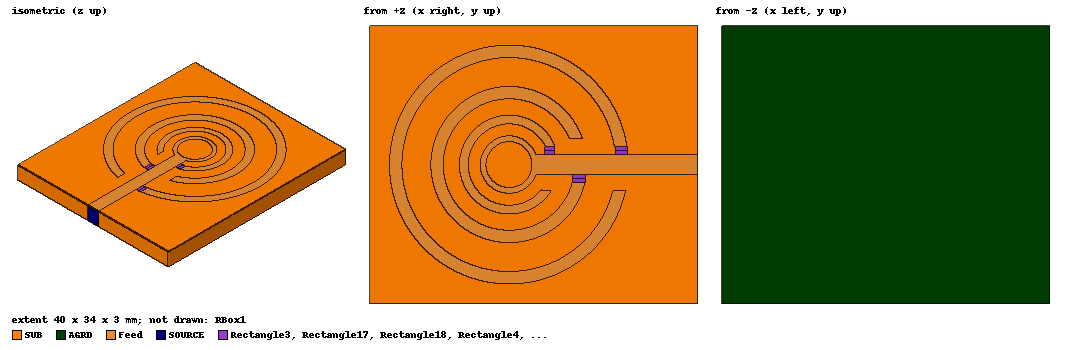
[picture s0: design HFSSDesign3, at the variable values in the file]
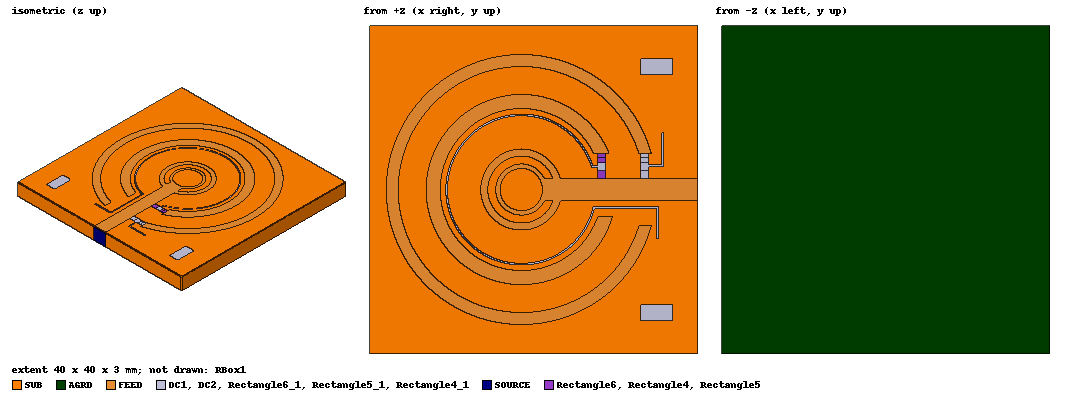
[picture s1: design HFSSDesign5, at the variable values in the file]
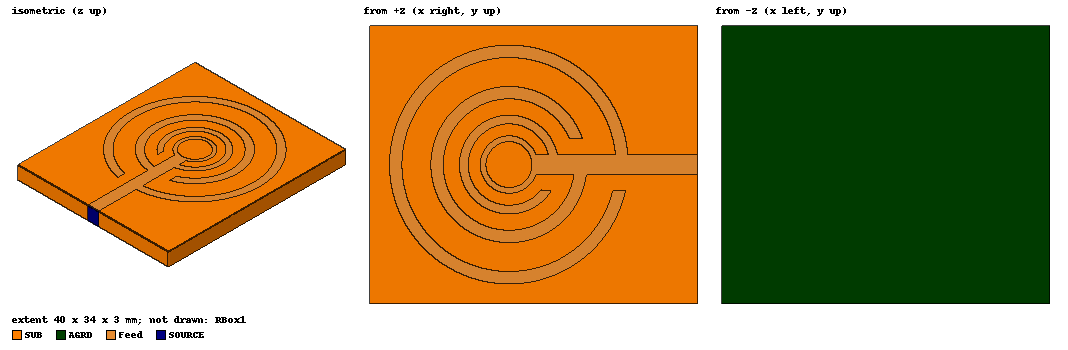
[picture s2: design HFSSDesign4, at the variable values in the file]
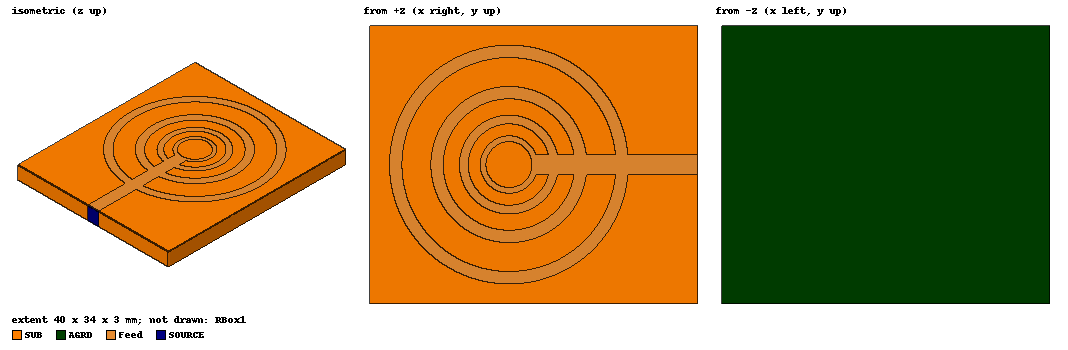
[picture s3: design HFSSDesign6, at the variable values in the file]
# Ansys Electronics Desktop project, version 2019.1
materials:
  Rogers RT/duroid 5880 (tm): permittivity=2.2 dielectric_loss_tangent=0.0009
  vacuum: permittivity=1

design HFSSDesign3 (HFSS, DrivenModal, model units mm)
options: Calculate_Lossy_Dielectrics
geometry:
  AGRD = rectangle(corner=(23mm, -17mm, 0mm), x_size=-40mm, y_size=34mm)
  SUB [Rogers RT/duroid 5880 (tm)] = box(corner=(-17mm, -17mm, 0mm), size=(40mm, 34mm, 3mm))
  SOURCE = rectangle(corner=(23mm, -1.2mm, 0mm), y_size=2.4mm, z_size=3mm)
  RBox1 [vacuum] = box(corner=(-35mm, -35mm, -20mm), size=(70mm, 70mm, 40mm))
  Feed = rectangle(corner=(23mm, -1.2mm, 3mm), x_size=-20mm, y_size=2.4mm)
  Circle1 = circle(normal=Z, centre=(0mm, 0mm, 3mm), radius=14.56mm)
  Circle2 = circle(normal=Z, centre=(0mm, 0mm, 3mm), radius=13.045mm)
  Circle1.subtract(Circle2)
  Feed.unite(Circle1)
  Rectangle1 = rectangle(corner=(10.007622mm, 1.2mm, 3mm), x_size=4.7992378mm, y_size=1mm)
  Feed.subtract(Rectangle1)
  Rectangle2 = rectangle(corner=(10.007622mm, -1.2mm, 3mm), x_size=4.7992378mm, y_size=-2mm)
  Feed.subtract(Rectangle2)
  Rectangle3 = rectangle(corner=(11mm, 1.2mm, 3mm), x_size=1.5mm, y_size=0.5mm)
  Rectangle4 = rectangle(corner=(11mm, 1.7mm, 3mm), x_size=1.5mm, y_size=0.5mm)
  Circle3 = circle(normal=Z, centre=(0mm, 0mm, 3mm), radius=3.5mm)
  Feed.unite(Circle3)
  Circle4 = circle(normal=Z, centre=(0mm, 0mm, 3mm), radius=4.964mm)
  Circle5 = circle(normal=Z, centre=(0mm, 0mm, 3mm), radius=6.033mm)
  Circle5.subtract(Circle4)
  Feed.unite(Circle5)
  Rectangle7 = rectangle(corner=(4mm, 1.2mm, 3mm), x_size=3mm, y_size=1mm)
  Rectangle8 = rectangle(corner=(4mm, -1.2mm, 3mm), x_size=3mm, y_size=-2mm)
  Feed.subtract(Rectangle7, Rectangle8)
  Rectangle11 = rectangle(corner=(4.4mm, 2.2mm, 3mm), x_size=1.2mm, y_size=-0.5mm)
  Rectangle12 = rectangle(corner=(4.4mm, 1.7mm, 3mm), x_size=1.2mm, y_size=-0.5mm)
  Circle6 = circle(normal=Z, centre=(0mm, 0mm, 3mm), radius=8.017mm)
  Circle7 = circle(normal=Z, centre=(0mm, 0mm, 3mm), radius=9.517mm)
  Circle7.subtract(Circle6)
  Feed.unite(Circle7)
  Rectangle13 = rectangle(corner=(7.0966784mm, 1.2mm, 3mm), x_size=2.5033216mm, y_size=2mm)
  Rectangle14 = rectangle(corner=(7.0966784mm, -1.2mm, 3mm), x_size=2.5033216mm, y_size=-1mm)
  Feed.subtract(Rectangle13, Rectangle14)
  Rectangle17 = rectangle(corner=(7.8mm, -2.2mm, 3mm), x_size=1.5mm, y_size=0.5mm)
  Rectangle18 = rectangle(corner=(7.8mm, -1.7mm, 3mm), x_size=1.5mm, y_size=0.5mm)
  [Rectangle3, Rectangle4].move(2mm, 0mm, 0mm)
  Circle8 = circle(normal=Z, centre=(0mm, 0mm, 3mm), radius=2.8mm)
  Feed.subtract(Circle8)
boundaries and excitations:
  PerfE1: Perfect E Objects=AGRD
  Rad1: Radiation Objects=RBox1
  PerfE2: Perfect E Objects=Feed
  L3: Lumped RLC Objects=Rectangle3 CurrentLine{middle of Rectangle3.edge(y at corner) -> middle of Rectangle3.edge(y opposite corner)} Inductance=0.7nH
  RC3: Lumped RLC Objects=Rectangle4 CurrentLine{middle of Rectangle4.edge(y at corner) -> middle of Rectangle4.edge(y opposite corner)} Resistance=2kOhm Capacitance=0.3pF
  L1: Lumped RLC Objects=Rectangle12 CurrentLine{middle of Rectangle12.edge(y opposite corner) -> middle of Rectangle12.edge(y at corner)} Inductance=0.7nH
  RC1: Lumped RLC Objects=Rectangle11 CurrentLine{middle of Rectangle11.edge(y opposite corner) -> middle of Rectangle11.edge(y at corner)} Resistance=2kOhm Capacitance=0.3pF
  RC2: Lumped RLC Objects=Rectangle17 CurrentLine{middle of Rectangle17.edge(y opposite corner) -> middle of Rectangle17.edge(y at corner)} Resistance=1ohm
  L2: Lumped RLC Objects=Rectangle18 CurrentLine{middle of Rectangle18.edge(y opposite corner) -> middle of Rectangle18.edge(y at corner)} Inductance=0.7nH
  1: Lumped Port Objects=SOURCE Modes{Mode1{IntLine{middle of SOURCE.edge(z at corner) -> middle of SOURCE.edge(z opposite corner)} CharImp=Zpi RenormImp=75ohm}} Impedance=75ohm
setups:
  Setup1: HfssDriven Frequency=15GHz MaxDeltaS=0.02 MaximumPasses=10 MinimumPasses=1 MinimumConvergedPasses=1 PercentRefinement=30 BasisOrder=1 PortAccuracy=2
    sweep Sweep: 1GHz to 25GHz, 451 points; Type=Fast SaveFields
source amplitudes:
  1:1: 1W 0deg
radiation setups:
  Infinite Sphere1: Infinite Sphere Theta=0deg..360deg step 5deg Phi=-180deg..180deg step 5deg
  Infinite Sphere2: Infinite Sphere Theta=-180deg..180deg step 2deg Phi=-180deg..180deg step 2deg

design HFSSDesign5 (HFSS, DrivenModal, model units mm)
options: Calculate_Lossy_Dielectrics
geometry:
  AGRD = rectangle(corner=(23mm, -20mm, 0mm), x_size=-40mm, y_size=40mm)
  SUB [Rogers RT/duroid 5880 (tm)] = box(corner=(-17mm, -20mm, 0mm), size=(40mm, 40mm, 3mm))
  SOURCE = rectangle(corner=(23mm, -1.35mm, 0mm), y_size=2.7mm, z_size=3mm)
  RBox1 [vacuum] = box(corner=(-35mm, -35mm, -20mm), size=(70mm, 70mm, 40mm))
  FEED = rectangle(corner=(23mm, -1.35mm, 3mm), x_size=-19mm, y_size=2.7mm)
  Circle1 = circle(normal=Z, centre=(1.5mm, 0mm, 3mm), radius=3.12mm)
  FEED.unite(Circle1)
  Circle2 = circle(normal=Z, centre=(1.5mm, 0mm, 3mm), radius=2.577mm)
  FEED.subtract(Circle2)
  Circle3 = circle(normal=Z, centre=(1.5mm, 0mm, 3mm), radius=4.08mm)
  Circle4 = circle(normal=Z, centre=(1.5mm, 0mm, 3mm), radius=4.939mm)
  Circle4.subtract(Circle3)
  FEED.unite(Circle4)
  Rectangle1 = rectangle(corner=(10.31281mm, -1.35mm, 3mm), x_size=3.68719mm, y_size=-2mm)
  FEED.subtract(Rectangle1)
  Circle5 = circle(normal=Z, centre=(1.5mm, 0mm, 3mm), radius=9.878mm)
  Circle6 = circle(normal=Z, centre=(1.5mm, 0mm, 3mm), radius=11.593387mm)
  Circle6.subtract(Circle5)
  FEED.unite(Circle6)
  Rectangle2 = rectangle(corner=(10mm, 1.35mm, 3mm), x_size=4mm, y_size=3mm)
  Rectangle3 = rectangle(corner=(10mm, -1.35mm, 3mm), x_size=4mm, y_size=-2mm)
  FEED.subtract(Rectangle2, Rectangle3)
  Rectangle4 = rectangle(corner=(11.132108mm, 3.35mm, 3mm), x_size=1mm, y_size=-0.5mm)
  Rectangle5 = rectangle(corner=(11.132108mm, 2.85mm, 3mm), x_size=1mm, y_size=-0.5mm)
  Rectangle6 = rectangle(corner=(10.8mm, 2.35mm, 3mm), x_size=1mm, y_size=-1mm)
  [Rectangle4, Rectangle5].move(-0.35518816mm, 1mm, 0mm)
  Rectangle7 = rectangle(corner=(10.77692mm, 3.35mm, 3mm), x_size=1.0230804mm, y_size=-1mm)
  Rectangle8 = rectangle(corner=(11mm, 2.9mm, 3mm), x_size=-0.8mm, y_size=-0.2mm)
  Circle7 = circle(normal=Z, centre=(1.5mm, 0mm, 3mm), radius=9mm)
  DC1 = circle(normal=Z, centre=(1.5mm, 0mm, 3mm), radius=9.2mm)
  DC1.subtract(Circle7)
  Rectangle9 = rectangle(corner=(12mm, 2.7mm, 3mm), x_size=-2mm, y_size=-4.8mm)
  DC1.subtract(Rectangle9)
  DC1.unite(Rectangle7, Rectangle8)
  Rectangle10 = rectangle(corner=(10.251571mm, -2.1mm, 3mm), x_size=8mm, y_size=-0.2mm)
  DC1.unite(Rectangle10)
  Circle9 = circle(normal=Z, centre=(1.5mm, 0mm, 3mm), radius=15mm)
  Circle10 = circle(normal=Z, centre=(1.5mm, 0mm, 3mm), radius=16.46mm)
  Circle10.subtract(Circle9)
  Rectangle11 = rectangle(corner=(14mm, 1.35mm, 3mm), x_size=4mm, y_size=3mm)
  FEED.unite(Circle10)
  Rectangle12 = rectangle(corner=(14mm, -1.35mm, 3mm), x_size=4mm, y_size=-3mm)
  FEED.subtract(Rectangle11, Rectangle12)
  Rectangle6_1 = Rectangle6.duplicate_along_line(step=(5.2180262mm, 0mm, 0mm), total=2)
  Rectangle5_1 = Rectangle5.duplicate_along_line(step=(5.2180262mm, 0mm, 0mm), total=2)
  Rectangle4_1 = Rectangle4.duplicate_along_line(step=(5.2180262mm, 0mm, 0mm), total=2)
  DC2 = rectangle(corner=(16.018026mm, 2.35mm, 3mm), x_size=0.9769196mm, y_size=1mm)
  Rectangle14 = rectangle(corner=(16.8mm, 2.8mm, 3mm), x_size=2mm, y_size=0.2mm)
  Rectangle15 = rectangle(corner=(18.8mm, 2.8mm, 3mm), x_size=-0.2mm, y_size=4.2mm)
  DC2.unite(Rectangle14, Rectangle15)
  Rectangle16 = rectangle(corner=(18.251571mm, -2.3mm, 3mm), x_size=-0.25157129mm, y_size=-3.7mm)
  DC1.unite(Rectangle16)
  Rectangle17 = rectangle(corner=(16mm, 14mm, 3mm), x_size=4mm, y_size=2mm)
  DC2.unite(Rectangle17)
  Rectangle18 = rectangle(corner=(16mm, -14mm, 3mm), x_size=4mm, y_size=-2mm)
  DC1.unite(Rectangle18)
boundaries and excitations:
  PerfE1: Perfect E Objects=AGRD
  Rad1: Radiation Objects=RBox1
  PerfE2: Perfect E Objects=FEED
  C1: Lumped RLC Objects=Rectangle6 CurrentLine{middle of Rectangle6.edge(y opposite corner) -> middle of Rectangle6.edge(y at corner)} Capacitance=1pF
  rc1: Lumped RLC Objects=Rectangle4 CurrentLine{middle of Rectangle4.edge(y opposite corner) -> middle of Rectangle4.edge(y at corner)} Resistance=1ohm
  l1: Lumped RLC Objects=Rectangle5 CurrentLine{middle of Rectangle5.edge(y opposite corner) -> middle of Rectangle5.edge(y at corner)} Inductance=0.7nH
  1: Lumped Port Objects=SOURCE Modes{Mode1{IntLine{middle of SOURCE.edge(z at corner) -> middle of SOURCE.edge(z opposite corner)} CharImp=Zpi RenormImp=75ohm}} Impedance=75ohm
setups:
  Setup1: HfssDriven Frequency=15GHz MaxDeltaS=0.02 MaximumPasses=10 MinimumPasses=1 MinimumConvergedPasses=1 PercentRefinement=30 BasisOrder=1 PortAccuracy=2
    sweep Sweep: 1GHz to 25GHz, 451 points; Type=Fast SaveFields
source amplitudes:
  1:1: 1W 0deg
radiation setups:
  Infinite Sphere1: Infinite Sphere Theta=0deg..360deg step 5deg Phi=-180deg..180deg step 5deg

design HFSSDesign4 (HFSS, DrivenModal, model units mm)
options: Calculate_Lossy_Dielectrics
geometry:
  AGRD = rectangle(corner=(23mm, -17mm, 0mm), x_size=-40mm, y_size=34mm)
  SUB [Rogers RT/duroid 5880 (tm)] = box(corner=(-17mm, -17mm, 0mm), size=(40mm, 34mm, 3mm))
  SOURCE = rectangle(corner=(23mm, -1.2mm, 0mm), y_size=2.4mm, z_size=3mm)
  RBox1 [vacuum] = box(corner=(-35mm, -35mm, -20mm), size=(70mm, 70mm, 40mm))
  Feed = rectangle(corner=(23mm, -1.2mm, 3mm), x_size=-20mm, y_size=2.4mm)
  Circle1 = circle(normal=Z, centre=(0mm, 0mm, 3mm), radius=14.56mm)
  Circle2 = circle(normal=Z, centre=(0mm, 0mm, 3mm), radius=13.045mm)
  Circle1.subtract(Circle2)
  Feed.unite(Circle1)
  Rectangle1 = rectangle(corner=(100.00762mm, 1.2mm, 3mm), x_size=4.7992378mm, y_size=1mm)
  Feed.subtract(Rectangle1)
  Rectangle2 = rectangle(corner=(10.007622mm, -1.2mm, 3mm), x_size=4.7992378mm, y_size=-2mm)
  Feed.subtract(Rectangle2)
  Circle3 = circle(normal=Z, centre=(0mm, 0mm, 3mm), radius=3.5mm)
  Feed.unite(Circle3)
  Circle4 = circle(normal=Z, centre=(0mm, 0mm, 3mm), radius=4.964mm)
  Circle5 = circle(normal=Z, centre=(0mm, 0mm, 3mm), radius=6.033mm)
  Circle5.subtract(Circle4)
  Feed.unite(Circle5)
  Rectangle7 = rectangle(corner=(40mm, 1.2mm, 3mm), x_size=3mm, y_size=1mm)
  Rectangle8 = rectangle(corner=(4mm, -1.2mm, 3mm), x_size=3mm, y_size=-2mm)
  Feed.subtract(Rectangle7, Rectangle8)
  Circle6 = circle(normal=Z, centre=(0mm, 0mm, 3mm), radius=8.017mm)
  Circle7 = circle(normal=Z, centre=(0mm, 0mm, 3mm), radius=9.517mm)
  Circle7.subtract(Circle6)
  Feed.unite(Circle7)
  Rectangle13 = rectangle(corner=(7.0966784mm, 1.2mm, 3mm), x_size=2.5033216mm, y_size=2mm)
  Rectangle14 = rectangle(corner=(70.096678mm, -1.2mm, 3mm), x_size=2.5033216mm, y_size=-1mm)
  Feed.subtract(Rectangle13, Rectangle14)
  Circle8 = circle(normal=Z, centre=(0mm, 0mm, 3mm), radius=2.8mm)
  Feed.subtract(Circle8)
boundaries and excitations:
  PerfE1: Perfect E Objects=AGRD
  Rad1: Radiation Objects=RBox1
  PerfE2: Perfect E Objects=Feed
  1: Lumped Port Objects=SOURCE Modes{Mode1{IntLine{middle of SOURCE.edge(z at corner) -> middle of SOURCE.edge(z opposite corner)} CharImp=Zpi RenormImp=75ohm}} Impedance=75ohm
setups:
  Setup1: HfssDriven Frequency=15GHz MaxDeltaS=0.02 MaximumPasses=6 MinimumPasses=1 MinimumConvergedPasses=1 PercentRefinement=30 BasisOrder=1 PortAccuracy=2
    sweep Sweep: 1GHz to 25GHz, 451 points; Type=Fast SaveFields
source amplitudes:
  1:1: 1W 0deg
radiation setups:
  Infinite Sphere1: Infinite Sphere Theta=0deg..360deg step 5deg Phi=-180deg..180deg step 5deg

design HFSSDesign6 (HFSS, DrivenModal, model units mm)
options: Calculate_Lossy_Dielectrics
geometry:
  AGRD = rectangle(corner=(23mm, -17mm, 0mm), x_size=-40mm, y_size=34mm)
  SUB [Rogers RT/duroid 5880 (tm)] = box(corner=(-17mm, -17mm, 0mm), size=(40mm, 34mm, 3mm))
  SOURCE = rectangle(corner=(23mm, -1.2mm, 0mm), y_size=2.4mm, z_size=3mm)
  RBox1 [vacuum] = box(corner=(-35mm, -35mm, -20mm), size=(70mm, 70mm, 40mm))
  Feed = rectangle(corner=(23mm, -1.2mm, 3mm), x_size=-20mm, y_size=2.4mm)
  Circle1 = circle(normal=Z, centre=(0mm, 0mm, 3mm), radius=14.56mm)
  Circle2 = circle(normal=Z, centre=(0mm, 0mm, 3mm), radius=13.045mm)
  Circle1.subtract(Circle2)
  Feed.unite(Circle1)
  Rectangle1 = rectangle(corner=(100.00762mm, 1.2mm, 3mm), x_size=4.7992378mm, y_size=1mm)
  Feed.subtract(Rectangle1)
  Rectangle2 = rectangle(corner=(100.00762mm, -1.2mm, 3mm), x_size=4.7992378mm, y_size=-2mm)
  Feed.subtract(Rectangle2)
  Circle3 = circle(normal=Z, centre=(0mm, 0mm, 3mm), radius=3.5mm)
  Feed.unite(Circle3)
  Circle4 = circle(normal=Z, centre=(0mm, 0mm, 3mm), radius=4.964mm)
  Circle5 = circle(normal=Z, centre=(0mm, 0mm, 3mm), radius=6.033mm)
  Circle5.subtract(Circle4)
  Feed.unite(Circle5)
  Rectangle7 = rectangle(corner=(40mm, 1.2mm, 3mm), x_size=3mm, y_size=1mm)
  Rectangle8 = rectangle(corner=(40mm, -1.2mm, 3mm), x_size=3mm, y_size=-2mm)
  Feed.subtract(Rectangle7, Rectangle8)
  Circle6 = circle(normal=Z, centre=(0mm, 0mm, 3mm), radius=8.017mm)
  Circle7 = circle(normal=Z, centre=(0mm, 0mm, 3mm), radius=9.517mm)
  Circle7.subtract(Circle6)
  Feed.unite(Circle7)
  Rectangle13 = rectangle(corner=(70.096678mm, 1.2mm, 3mm), x_size=2.5033216mm, y_size=2mm)
  Rectangle14 = rectangle(corner=(70.096678mm, -1.2mm, 3mm), x_size=2.5033216mm, y_size=-1mm)
  Feed.subtract(Rectangle13, Rectangle14)
  Circle8 = circle(normal=Z, centre=(0mm, 0mm, 3mm), radius=2.8mm)
  Feed.subtract(Circle8)
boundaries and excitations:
  PerfE1: Perfect E Objects=AGRD
  Rad1: Radiation Objects=RBox1
  PerfE2: Perfect E Objects=Feed
  1: Lumped Port Objects=SOURCE Modes{Mode1{IntLine{middle of SOURCE.edge(z at corner) -> middle of SOURCE.edge(z opposite corner)} CharImp=Zpi RenormImp=75ohm}} Impedance=75ohm
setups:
  Setup1: HfssDriven Frequency=15GHz MaxDeltaS=0.02 MaximumPasses=6 MinimumPasses=1 MinimumConvergedPasses=1 PercentRefinement=30 BasisOrder=1 PortAccuracy=2
    sweep Sweep: 1GHz to 25GHz, 451 points; Type=Fast SaveFields
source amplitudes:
  1:1: 1W 0deg
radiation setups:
  Infinite Sphere1: Infinite Sphere Theta=0deg..360deg step 5deg Phi=-180deg..180deg step 5deg
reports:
  S Parameter Plot 1: dB(S(1,1)) vs Freq on Setup1 : Sweep; markers m1 at 20.253333GHz, m2 at 13.32GHz, m3 at 8.7866667GHz, m4 at 5.9066667GHz
  VSWR Plot 1: VSWR(1) vs Freq on Setup1 : Sweep
  VSWR Plot 2: VSWR(1) vs Freq on Setup1 : Sweep [Freq=5GHz,5.05333GHz,5.10667GHz,5.16GHz,5.21333GHz,5.26667GHz,5.32GHz,5.37333GHz,5.42667GHz,5.48GHz,5.53333GHz,5.58667GHz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]
